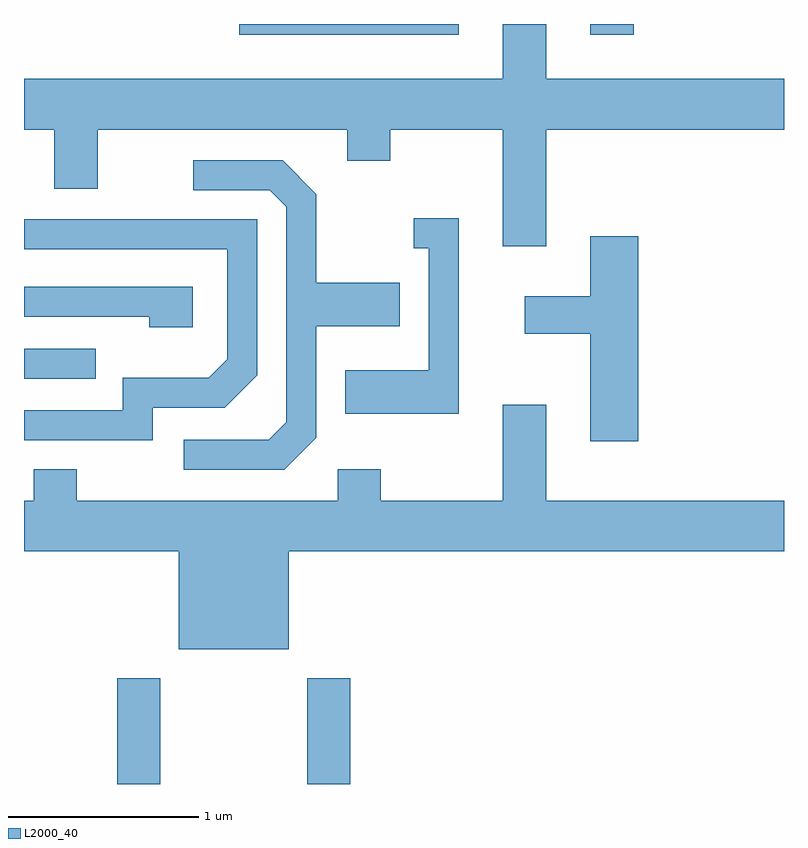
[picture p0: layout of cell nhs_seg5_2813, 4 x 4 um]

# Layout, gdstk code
import gdstk
lib = gdstk.Library(unit=1e-6, precision=1e-09)
def R(c, l, rs):  # rectangles x0, y0, x1, y1
    for r in rs: c.add(gdstk.rectangle(r[:2], r[2:], *l))
def P(c, l, *ps):  # polygons
    for p in ps: c.add(gdstk.Polygon(p, *l))
L2000_40 = (2000, 40)

nhs_seg5_2813 = lib.new_cell('nhs_seg5_2813')
R(nhs_seg5_2813, L2000_40, [(270.101,1400.072,270.329,1400.629), (271.101,1400.072,271.329,1400.629), (269.611,1402.206,269.988,1402.364), (270.743,1404.016,271.899,1404.072), (272.591,1404.016,272.819,1404.072)])
P(nhs_seg5_2813, L2000_40, [(272.359,1403.516),(273.611,1403.516),(273.611,1403.784),(272.359,1403.784),(272.359,1404.072),(272.131,1404.072),(272.131,1403.784),(269.611,1403.784),(269.611,1403.516),(269.771,1403.516),(269.771,1403.206),(269.999,1403.206),(269.999,1403.516),(271.311,1403.516),(271.311,1403.351),(271.539,1403.351),(271.539,1403.516),(272.131,1403.516),(272.131,1402.901),(272.359,1402.901)],
  [(271.149,1401.894),(271.149,1402.481),(271.589,1402.481),(271.589,1402.709),(271.149,1402.709),(271.149,1403.177),(270.972,1403.354),(270.503,1403.354),(270.503,1403.196),(270.904,1403.196),(270.991,1403.109),(270.991,1401.977),(270.899,1401.884),(270.453,1401.884),(270.453,1401.726),(270.982,1401.726)],
  [(271.899,1403.049),(271.663,1403.049),(271.663,1402.891),(271.741,1402.891),(271.741,1402.249),(271.301,1402.249),(271.301,1402.021),(271.899,1402.021)],
  [(270.289,1402.051),(270.667,1402.051),(270.839,1402.224),(270.839,1403.044),(269.611,1403.044),(269.611,1402.886),(270.681,1402.886),(270.681,1402.307),(270.584,1402.209),(270.131,1402.209),(270.131,1402.039),(269.611,1402.039),(269.611,1401.881),(270.289,1401.881)],
  [(272.844,1402.954),(272.591,1402.954),(272.591,1402.639),(272.246,1402.639),(272.246,1402.441),(272.591,1402.441),(272.591,1401.876),(272.844,1401.876)],
  [(270.499,1402.689),(269.611,1402.689),(269.611,1402.531),(270.271,1402.531),(270.271,1402.476),(270.499,1402.476)],
  [(271.004,1401.296),(273.611,1401.296),(273.611,1401.564),(272.359,1401.564),(272.359,1402.069),(272.131,1402.069),(272.131,1401.564),(271.489,1401.564),(271.489,1401.729),(271.261,1401.729),(271.261,1401.564),(269.889,1401.564),(269.889,1401.729),(269.661,1401.729),(269.661,1401.564),(269.611,1401.564),(269.611,1401.296),(270.426,1401.296),(270.426,1400.781),(271.004,1400.781)])

lib.write_gds('nhs_seg5_2813.gds')
